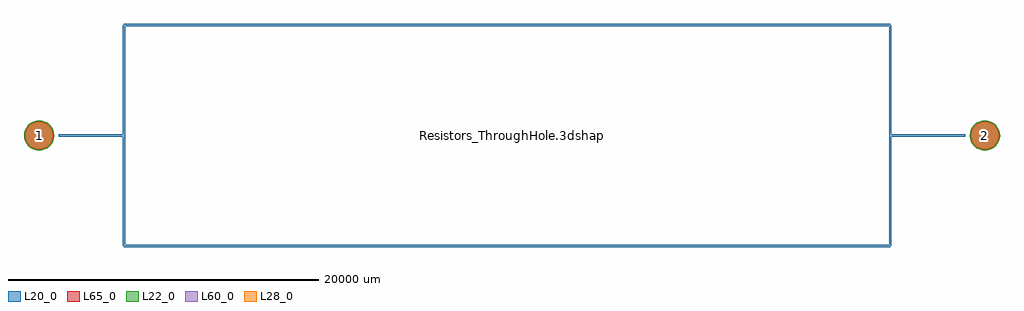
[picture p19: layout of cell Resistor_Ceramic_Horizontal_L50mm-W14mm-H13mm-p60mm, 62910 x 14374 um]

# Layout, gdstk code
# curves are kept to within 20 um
import gdstk
lib = gdstk.Library(unit=1e-6, precision=1e-09)
def P(c, l, *ps):  # polygons
    for p in ps: c.add(gdstk.Polygon(p, *l))
L20_0 = (20, 0)
L22_0 = (22, 0)
L28_0 = (28, 0)
L60_0 = (60, 0)
L65_0 = (65, 0)

resistor_ceramic_horizon = lib.new_cell('Resistor_Ceramic_Horizontal_L50mm-W14mm-H13mm-p60mm')
P(resistor_ceramic_horizon, L22_0, [(31455,0),(31380.783,373.116),(31169.429,689.429),(30853.116,900.783),(30480,975),(30106.884,900.783),(29790.571,689.429),(29579.217,373.116),(29505,0),(29579.217,-373.116),(29790.571,-689.429),(30106.884,-900.783),(30480,-975),(30853.116,-900.783),(31169.429,-689.429),(31380.783,-373.116)],
  [(-29505,0),(-29579.217,373.116),(-29790.571,689.429),(-30106.884,900.783),(-30480,975),(-30853.116,900.783),(-31169.429,689.429),(-31380.783,373.116),(-31455,0),(-31380.783,-373.116),(-31169.429,-689.429),(-30853.116,-900.783),(-30480,-975),(-30106.884,-900.783),(-29790.571,-689.429),(-29579.217,-373.116)])
P(resistor_ceramic_horizon, L28_0, [(31380,0),(31311.492,344.415),(31116.396,636.396),(30824.415,831.492),(30480,900),(30135.585,831.492),(29843.604,636.396),(29648.508,344.415),(29580,0),(29648.508,-344.415),(29843.604,-636.396),(30135.585,-831.492),(30480,-900),(30824.415,-831.492),(31116.396,-636.396),(31311.492,-344.415)],
  [(-29580,0),(-29648.508,344.415),(-29843.604,636.396),(-30135.585,831.492),(-30480,900),(-30824.415,831.492),(-31116.396,636.396),(-31311.492,344.415),(-31380,0),(-31311.492,-344.415),(-31116.396,-636.396),(-30824.415,-831.492),(-30480,-900),(-30135.585,-831.492),(-29843.604,-636.396),(-29648.508,-344.415)])
P(resistor_ceramic_horizon, L60_0, [(31380,0),(31311.492,344.415),(31116.396,636.396),(30824.415,831.492),(30480,900),(30135.585,831.492),(29843.604,636.396),(29648.508,344.415),(29580,0),(29648.508,-344.415),(29843.604,-636.396),(30135.585,-831.492),(30480,-900),(30824.415,-831.492),(31116.396,-636.396),(31311.492,-344.415)],
  [(-29580,0),(-29648.508,344.415),(-29843.604,636.396),(-30135.585,831.492),(-30480,900),(-30824.415,831.492),(-31116.396,636.396),(-31311.492,344.415),(-31380,0),(-31311.492,-344.415),(-31116.396,-636.396),(-30824.415,-831.492),(-30480,-900),(-30135.585,-831.492),(-29843.604,-636.396),(-29648.508,-344.415)])
P(resistor_ceramic_horizon, L65_0, [(31455,0),(31380.783,373.116),(31169.429,689.429),(30853.116,900.783),(30480,975),(30106.884,900.783),(29790.571,689.429),(29579.217,373.116),(29505,0),(29579.217,-373.116),(29790.571,-689.429),(30106.884,-900.783),(30480,-975),(30853.116,-900.783),(31169.429,-689.429),(31380.783,-373.116)],
  [(-29505,0),(-29579.217,373.116),(-29790.571,689.429),(-30106.884,900.783),(-30480,975),(-30853.116,900.783),(-31169.429,689.429),(-31380.783,373.116),(-31455,0),(-31380.783,-373.116),(-31169.429,-689.429),(-30853.116,-900.783),(-30480,-975),(-30106.884,-900.783),(-29790.571,-689.429),(-29579.217,-373.116)])
resistor_ceramic_horizon.add(gdstk.FlexPath([(24384,0),(29210,0)], 149.998, ends="flush", simple_path=True, layer=20, datatype=0))  # L20_0
resistor_ceramic_horizon.add(gdstk.FlexPath([(-25019,0),(-29210,0)], 149.998, ends="flush", simple_path=True, layer=20, datatype=0))  # L20_0
resistor_ceramic_horizon.add(gdstk.FlexPath([(24384,7112),(-25019,7112)], 149.998, ends="flush", simple_path=True, layer=20, datatype=0))  # L20_0
resistor_ceramic_horizon.add(gdstk.FlexPath([(24384,-7112),(24384,7112)], 149.998, ends="flush", simple_path=True, layer=20, datatype=0))  # L20_0
resistor_ceramic_horizon.add(gdstk.FlexPath([(-25019,-7112),(24384,-7112)], 149.998, ends="flush", simple_path=True, layer=20, datatype=0))  # L20_0
resistor_ceramic_horizon.add(gdstk.FlexPath([(-25019,7112),(-25019,-7112)], 149.998, ends="flush", simple_path=True, layer=20, datatype=0))  # L20_0
resistor_ceramic_horizon.add(gdstk.Label('Resistors_ThroughHole.3dshapes/Resistor_Ceramic_Horizontal_L50mm-W14mm-H13mm-p60mm.wrl', (0,0), layer=12, texttype=0))
resistor_ceramic_horizon.add(gdstk.Label('2', (30480,0), layer=28, texttype=0))
resistor_ceramic_horizon.add(gdstk.Label('1', (-30480,0), layer=28, texttype=0))
resistor_ceramic_horizon.add(gdstk.Label('type', (0,-8890), layer=9, texttype=0))
resistor_ceramic_horizon.add(gdstk.Label('devicename', (0,8890), layer=9, texttype=0))

lib.write_gds('Resistor_Ceramic_Horizontal_L50mm-W14mm-H13mm-p60mm.gds')
